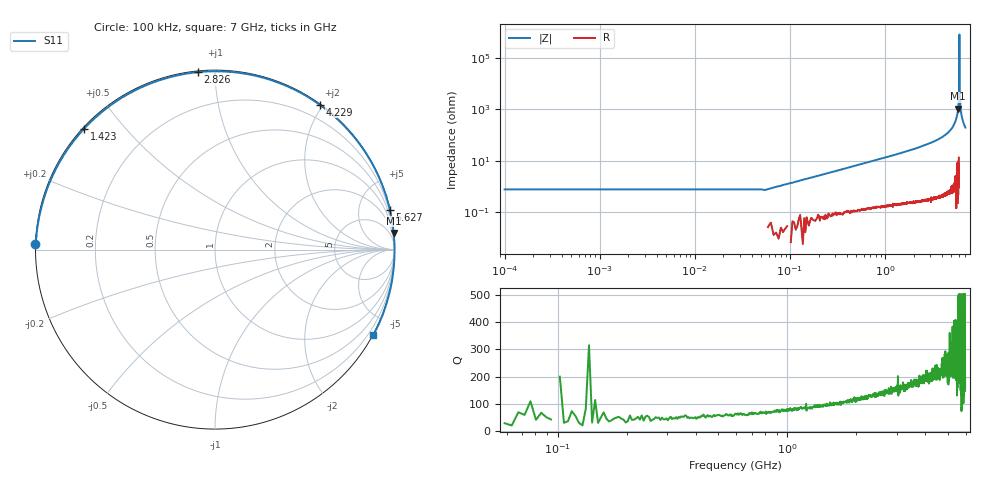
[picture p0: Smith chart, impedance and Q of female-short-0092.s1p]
! This is a Touchstone .s1p format file
! It should be saved with .s1p extension
! HEWLETT PACKARD,8720D,0,7.74
! Date = 20 Mar 2018
! Time = 22:35:17
! S11 measured = FALSE
! S21 measured = FALSE
! S12 measured = FALSE
! S22 measured = TRUE
! Start frequency = 0.050000000 GHz
! Centre frequency  = 3.524999936 GHz
! Stop frequency  = 7.000000000 GHz
! IF bandwidth = 300 Hz
! Smoothing = OFF
! Smoothing aperture = 1.000000 %
! Averaging = OFF
! Averaging factor = 16
! Source power = On
! Source power = Auto mode
! Output power level = 5.000000 dBm
! Retrace power = Off
! Testset switching = Continuous
! Number of sweeps for test set switching (0=hold, 1=continuous,2-999 = number of sweeps) = 1
! Step sweep = On (check)
! List frequency sweep = Off (check)
! IFBW setting for a list-frequency table in swept list mode = Disabled (Check)
! Power setting for a list-frequency table in swept list mode = Disabled (Check)
! Measurement mode = Chop A and B
! Port extensions = OFF
! Port extension 1 = 0.000000 ps
! Port extension 2 = 41.370001 ps
! Points  = 1601
! Calibration kit = 3.5 mm D
! Calibration = S22 1-port
! Power = 5.000000 dBm
! Frequency magS22 angS22
! Magnitudes are in log form
! Angles are in degrees
# MHz S DB R 50
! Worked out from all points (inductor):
!   1602 points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, 100 kHz to 7 GHz, reference 50 ohm
!   read as one part to ground: L = 2.16 nH near 80.41 MHz
!   highest Q = 693 at 5.879 GHz (marker M1), where L = 29.1 nH
!   S11 on the Smith chart (normalised r, x): 100 kHz: -0.00, +0.02; 1.423 GHz: 0.00, +0.39; 2.826 GHz: 0.01, +0.91; 4.229 GHz: 0.01, +1.96; 5.627 GHz: 0.04, +8.92; 7 GHz: -0.02, -3.96
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0.1  0.01 178.2
50  0.01 178.2
84.75  -0.01 177.3
480.0312  -0.04 165.4
875.3125  -0.05 153.6
1148.969  -0.06 145.4
1422.625  -0.06 137.3
1752.75  -0.07 127.4
1965.594  -0.07 121.1
2195.812  -0.06 114.2
2404.312  -0.06 108.1
2625.844  -0.06 101.5
2825.656  -0.06 95.5
3164.469  -0.05 85.6
3503.281  -0.05 75.5
3885.531  -0.04 64.3
4228.688  -0.03 54.1
4376.375  -0.03 49.8
4828.125  -0.02 36.5
5049.656  -0.02 29.9
5253.812  -0.02 23.9
5627.375  -0.01 12.8
5879.312  -0.01 5.3
6126.906  0.00 -2.1
6339.75  0.01 -8.4
6552.594  0.01 -14.8
6748.062  0.02 -20.7
7000  0.02 -28.3
